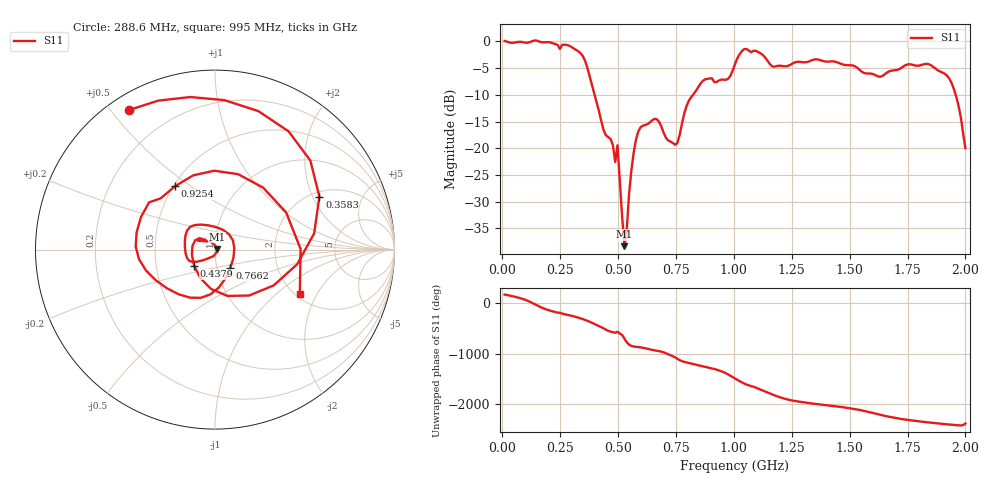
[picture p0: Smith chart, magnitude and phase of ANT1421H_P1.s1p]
!Created with skrf (http://scikit-rf.org).
# Hz S RI R 50.0
!freq ReS11 ImS11
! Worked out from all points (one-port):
!   201 points, 10 MHz to 2 GHz, reference 50 ohm
!   lowest |S11| = -38.3 dB at 527.4 MHz (marker M1), VSWR 1.02, Z = 51.2 + j0.391 ohm
!   |S11| at or under -10 dB: 398.4 MHz to 823.6 MHz (425.1 MHz wide, 69.6 % of centre); 1.958 GHz to end of sweep
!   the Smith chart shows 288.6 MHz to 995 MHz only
!   S11 on the Smith chart (normalised r, x): 288.6 MHz: 0.06, +0.56; 358.2 MHz: 2.19, +2.25; 437.9 MHz: 0.78, -0.14; 766.2 MHz: 1.16, -0.24; 925.4 MHz: 0.51, +0.44; 995 MHz: 2.10, -1.47
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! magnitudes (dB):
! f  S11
! 10 MHz  0.1
! 258.8 MHz  -0.6
! 288.6 MHz  -0.8
! 358.2 MHz  -3.7
! 437.9 MHz  -16.6
! 477.6 MHz  -19.4
! 487.6 MHz  -22.6
! 497.6 MHz  -19.4
! 507.5 MHz  -26.0
! 527.4 MHz  -38.3
! 557.2 MHz  -24.2
! 587.1 MHz  -16.9
! 666.7 MHz  -14.5
! 756.2 MHz  -19.0
! 766.2 MHz  -17.5
! 796 MHz  -12.0
! 855.8 MHz  -7.9
! 925.4 MHz  -7.6
! 995 MHz  -5.4
! 1.005 GHz  -4.2
! 1.055 GHz  -1.4
! 1.254 GHz  -4.1
! 1.502 GHz  -4.4
! 1.632 GHz  -6.6
! 1.751 GHz  -4.3
! 1.93 GHz  -6.9
! 1.97 GHz  -12.0
! 2 GHz  -20.0
